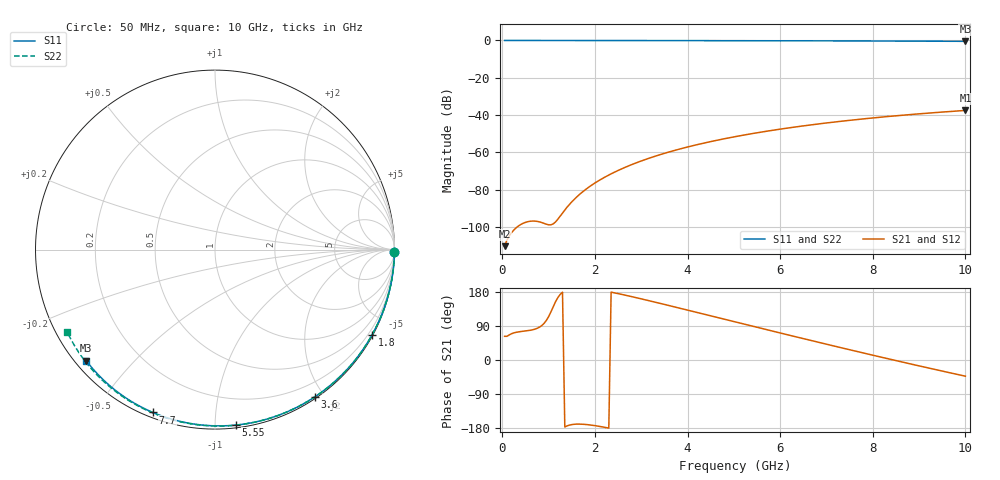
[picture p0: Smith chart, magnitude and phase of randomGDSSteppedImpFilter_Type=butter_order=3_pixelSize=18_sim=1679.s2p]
! freq	dB(S11)	phase(S11)	dB(S12)	phase(S12)
!  dB(S21)	phase(S21)	dB(S22)	phase(S22)
!S-par simulation data
#  GHz  S  DB  R 50
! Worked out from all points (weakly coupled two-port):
!   200 points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, 50 MHz to 10 GHz, reference 50 ohm
!   highest |S21| = -37.55 dB at 10 GHz (marker M1); lowest = -110.4 dB at 50 MHz (marker M2)
!   lowest |S11| = -0.5 dB at 10 GHz (marker M3), VSWR 36.98, Z = 1.54 - j18.6 ohm
!   |S11| at or under -10 dB: nowhere
!   |S22| runs from -0.5 to 0.0 dB; largest |S21 - S12| = 0
!   S11 on the Smith chart (normalised r, x): 50 MHz: open; 1.8 GHz: 0.03, -3.93; 3.6 GHz: 0.02, -1.89; 5.55 GHz: 0.02, -1.13; 7.7 GHz: 0.02, -0.69; 10 GHz: 0.03, -0.37
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0.05  -0.00 -0.8  -110.39 62.5  -110.39 62.5  -0.00 -0.9
0.45  -0.01 -7.2  -98.10 75.9  -98.10 75.9  -0.01 -7.8
0.9  -0.02 -14.4  -98.13 96.3  -98.13 96.3  -0.02 -15.6
1.3  -0.03 -20.7  -92.57 178.9  -92.57 178.9  -0.03 -22.4
1.75  -0.04 -27.8  -80.92 -169.6  -80.92 -169.6  -0.04 -30.0
1.8  -0.04 -28.5  -79.95 -170.1  -79.95 -170.1  -0.04 -30.8
1.95  -0.04 -30.9  -77.31 -172.3  -77.31 -172.3  -0.04 -33.3
2.1  -0.04 -33.2  -74.97 -175.2  -74.97 -175.2  -0.05 -35.8
2.3  -0.05 -36.3  -72.21 -179.7  -72.21 -179.7  -0.05 -39.1
2.5  -0.05 -39.3  -69.77 175.2  -69.77 175.2  -0.05 -42.4
2.9  -0.06 -45.4  -65.60 164.2  -65.60 164.2  -0.06 -48.9
3.4  -0.07 -52.8  -61.33 149.7  -61.33 149.7  -0.08 -56.9
3.6  -0.08 -55.7  -59.84 143.7  -59.84 143.7  -0.08 -60.1
4.3  -0.09 -65.8  -55.37 122.6  -55.37 122.6  -0.10 -70.9
5.05  -0.12 -76.3  -51.52 99.9  -51.52 99.9  -0.13 -82.2
5.55  -0.14 -83.1  -49.34 84.8  -49.34 84.8  -0.15 -89.5
6.1  -0.16 -90.4  -47.22 68.3  -47.22 68.3  -0.17 -97.4
6.7  -0.19 -98.2  -45.19 50.5  -45.19 50.5  -0.21 -105.8
7.7  -0.25 -110.9  -42.33 21.3  -42.33 21.3  -0.27 -119.5
8.35  -0.30 -119.0  -40.76 2.7  -40.76 2.7  -0.33 -128.3
9.2  -0.38 -129.4  -38.99 -21.0  -38.99 -21.0  -0.41 -139.8
10  -0.47 -139.2  -37.55 -42.7  -37.55 -42.7  -0.51 -150.8
